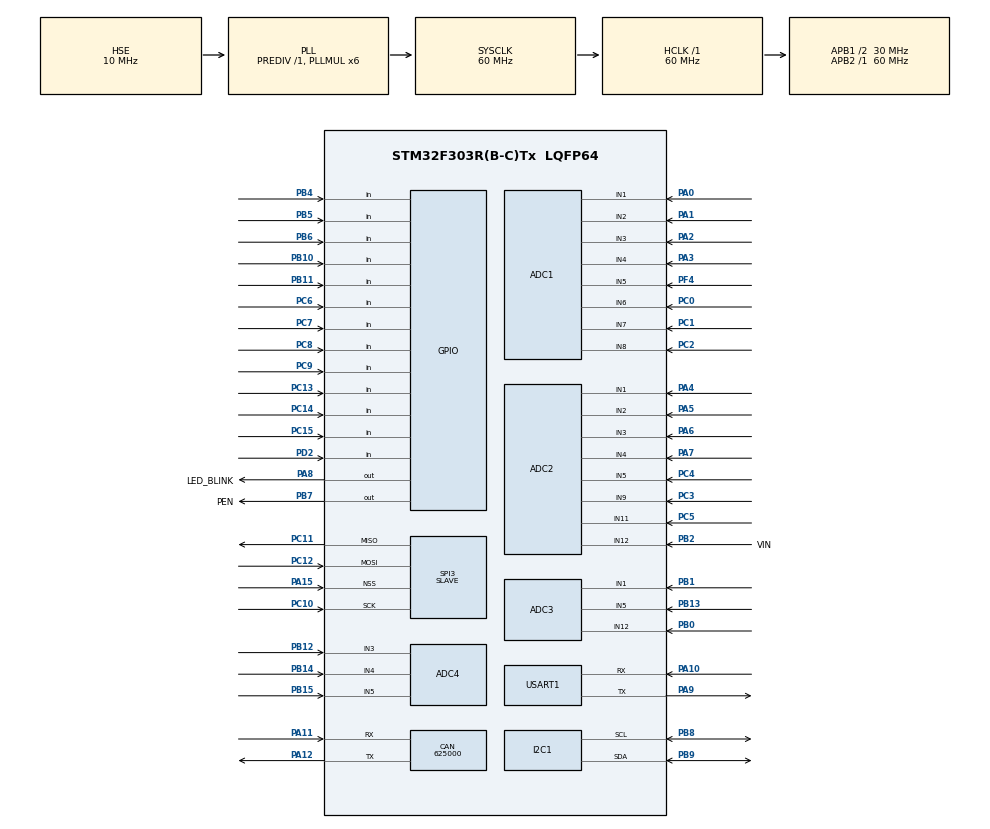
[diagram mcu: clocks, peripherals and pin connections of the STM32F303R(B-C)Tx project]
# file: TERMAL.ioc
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ADC1.Channel-0\#ChannelRegularConversion=ADC_CHANNEL_1
ADC1.ClockPrescaler=ADC_CLOCK_SYNC_PCLK_DIV2
ADC1.ContinuousConvMode=DISABLE
ADC1.NbrOfConversion=1
ADC1.NbrOfConversionFlag=1
ADC1.Offset-0\#ChannelRegularConversion=0
ADC1.OffsetNumber-0\#ChannelRegularConversion=ADC_OFFSET_NONE
ADC1.Rank-0\#ChannelRegularConversion=1
ADC1.SamplingTime-0\#ChannelRegularConversion=ADC_SAMPLETIME_1CYCLE_5
ADC1.master=1
ADC2.Channel-0\#ChannelRegularConversion=ADC_CHANNEL_1
ADC2.ClockPrescaler=ADC_CLOCK_SYNC_PCLK_DIV2
ADC2.ContinuousConvMode=DISABLE
ADC2.NbrOfConversion=1
ADC2.NbrOfConversionFlag=1
ADC2.Offset-0\#ChannelRegularConversion=0
ADC2.OffsetNumber-0\#ChannelRegularConversion=ADC_OFFSET_NONE
ADC2.Rank-0\#ChannelRegularConversion=1
ADC2.SamplingTime-0\#ChannelRegularConversion=ADC_SAMPLETIME_1CYCLE_5
ADC3.Channel-0\#ChannelRegularConversion=ADC_CHANNEL_1
ADC3.ClockPrescaler=ADC_CLOCK_SYNC_PCLK_DIV2
ADC3.ContinuousConvMode=DISABLE
ADC3.NbrOfConversion=1
ADC3.NbrOfConversionFlag=1
ADC3.Offset-0\#ChannelRegularConversion=0
ADC3.OffsetNumber-0\#ChannelRegularConversion=ADC_OFFSET_NONE
ADC3.Rank-0\#ChannelRegularConversion=1
ADC3.SamplingTime-0\#ChannelRegularConversion=ADC_SAMPLETIME_1CYCLE_5
ADC3.master=1
ADC4.Channel-2\#ChannelRegularConversion=ADC_CHANNEL_3
ADC4.ClockPrescaler=ADC_CLOCK_SYNC_PCLK_DIV2
ADC4.ContinuousConvMode=DISABLE
ADC4.NbrOfConversion=1
ADC4.NbrOfConversionFlag=1
ADC4.Offset-2\#ChannelRegularConversion=0
ADC4.OffsetNumber-2\#ChannelRegularConversion=ADC_OFFSET_NONE
ADC4.Rank-2\#ChannelRegularConversion=1
ADC4.SamplingTime-2\#ChannelRegularConversion=ADC_SAMPLETIME_1CYCLE_5
CAN.CalculateBaudRate=625000
CAN.CalculateTimeBit=1600
CAN.CalculateTimeQuantum=533.3333333333334
I2C1.Timing=0x00201D2B
Mcu.Family=STM32F3
Mcu.Name=STM32F303R(B-C)Tx
Mcu.Package=LQFP64
NVIC.CAN_RX1_IRQn=true\:0\:0\:false\:false\:true\:true\:true\:true
NVIC.PriorityGroup=NVIC_PRIORITYGROUP_4
NVIC.SPI3_IRQn=true\:0\:0\:false\:false\:true\:true\:true\:true
NVIC.TIM1_UP_TIM16_IRQn=true\:15\:0\:false\:false\:true\:false\:true\:true
NVIC.TimeBase=TIM1_UP_TIM16_IRQn
NVIC.TimeBaseIP=TIM1
PA0.Mode=IN1-Single-Ended
PA0.Signal=ADC1_IN1
PA1.Mode=IN2-Single-Ended
PA1.Signal=ADC1_IN2
PA10.Mode=Asynchronous
PA10.Signal=USART1_RX
PA11.Mode=CAN_Activate
PA11.Signal=CAN_RX
PA12.Mode=CAN_Activate
PA12.Signal=CAN_TX
PA13.Mode=Trace_Asynchronous_SW
PA13.Signal=SYS_JTMS-SWDIO
PA14.Mode=Trace_Asynchronous_SW
PA14.Signal=SYS_JTCK-SWCLK
PA15.Mode=NSS_Signal_Hard_Input
PA15.Signal=SPI3_NSS
PA2.Mode=IN3-Single-Ended
PA2.Signal=ADC1_IN3
PA3.Mode=IN4-Single-Ended
PA3.Signal=ADC1_IN4
PA4.Mode=IN1-Single-Ended
PA4.Signal=ADC2_IN1
PA5.Mode=IN2-Single-Ended
PA5.Signal=ADC2_IN2
PA6.Mode=IN3-Differential
PA6.Signal=ADC2_IN3
PA7.Mode=IN3-Differential
PA7.Signal=ADC2_IN4
PA8.GPIO_Label=LED_BLINK
PA8.Signal=GPIO_Output
PA9.Mode=Asynchronous
PA9.Signal=USART1_TX
PB0.Mode=IN12-Single-Ended
PB0.Signal=ADC3_IN12
PB1.Mode=IN1-Single-Ended
PB1.Signal=ADC3_IN1
PB10.Signal=GPIO_Input
PB11.Signal=GPIO_Input
PB12.Mode=IN3-Single-Ended
PB12.Signal=ADC4_IN3
PB13.Mode=IN5-Single-Ended
PB13.Signal=ADC3_IN5
PB14.Mode=IN4-Differential
PB14.Signal=ADC4_IN4
PB15.Mode=IN4-Differential
PB15.Signal=ADC4_IN5
PB2.GPIO_Label=VIN
PB2.Mode=IN12-Single-Ended
PB2.Signal=ADC2_IN12
PB3.Mode=Trace_Asynchronous_SW
PB3.Signal=SYS_JTDO-TRACESWO
PB4.Signal=GPIO_Input
PB5.Signal=GPIO_Input
PB6.Signal=GPIO_Input
PB7.GPIO_Label=PEN
PB7.Signal=GPIO_Output
PB8.Mode=I2C
PB8.Signal=I2C1_SCL
PB9.Mode=I2C
PB9.Signal=I2C1_SDA
PC0.Signal=ADCx_IN6
PC1.Signal=ADCx_IN7
PC10.Mode=Full_Duplex_Slave
PC10.Signal=SPI3_SCK
PC11.Mode=Full_Duplex_Slave
PC11.Signal=SPI3_MISO
PC12.Mode=Full_Duplex_Slave
PC12.Signal=SPI3_MOSI
PC13.Signal=GPIO_Input
PC14-OSC32_IN.Signal=GPIO_Input
PC15-OSC32_OUT.Signal=GPIO_Input
PC2.Signal=ADCx_IN8
PC3.Signal=ADCx_IN9
PC4.Mode=IN5-Single-Ended
PC4.Signal=ADC2_IN5
PC5.Mode=IN11-Single-Ended
PC5.Signal=ADC2_IN11
PC6.Signal=GPIO_Input
PC7.Signal=GPIO_Input
PC8.Signal=GPIO_Input
PC9.Signal=GPIO_Input
PD2.Signal=GPIO_Input
PF0-OSC_IN.Mode=HSE-External-Oscillator
PF0-OSC_IN.Signal=RCC_OSC_IN
PF1-OSC_OUT.Mode=HSE-External-Oscillator
PF1-OSC_OUT.Signal=RCC_OSC_OUT
PF4.Mode=IN5-Single-Ended
PF4.Signal=ADC1_IN5
ProjectManager.HeapSize=0x200
ProjectManager.StackSize=0x400
ProjectManager.TargetToolchain=MDK-ARM V5.32
RCC.AHBFreq_Value=60000000
RCC.APB1CLKDivider=RCC_HCLK_DIV2
RCC.APB1Freq_Value=30000000
RCC.APB1TimFreq_Value=60000000
RCC.APB2Freq_Value=60000000
RCC.APB2TimFreq_Value=60000000
RCC.CortexFreq_Value=60000000
RCC.HCLKFreq_Value=60000000
RCC.HSE_VALUE=10000000
RCC.HSI_VALUE=8000000
RCC.LSE_VALUE=32768
RCC.PLLMUL=RCC_PLL_MUL6
RCC.PLLSourceVirtual=RCC_PLLSOURCE_HSE
RCC.SYSCLKFreq_VALUE=60000000
RCC.SYSCLKSourceVirtual=RCC_SYSCLKSOURCE_PLLCLK
RCC.USBFreq_Value=60000000
SH.ADCx_IN6.0=ADC1_IN6,IN6-Single-Ended
SH.ADCx_IN7.0=ADC1_IN7,IN7-Single-Ended
SH.ADCx_IN8.0=ADC1_IN8,IN8-Single-Ended
SH.ADCx_IN9.0=ADC2_IN9,IN9-Single-Ended
SPI3.CRCCalculation=SPI_CRCCALCULATION_DISABLE
SPI3.DataSize=SPI_DATASIZE_8BIT
SPI3.Direction=SPI_DIRECTION_2LINES
SPI3.Mode=SPI_MODE_SLAVE
SPI3.VirtualNSS=VM_NSSHARD
SPI3.VirtualType=VM_SLAVE
USART1.VirtualMode-Asynchronous=VM_ASYNC
VP_SYS_VS_tim1.Mode=TIM1
VP_TIM2_VS_ClockSourceINT.Mode=Internal
board=custom

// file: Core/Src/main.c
/* USER CODE BEGIN Header */
/**
  ******************************************************************************
  * @file           : main.c
  * @brief          : Main program body
  ******************************************************************************
  * @attention
  *
  * Copyright (c) 2025 STMicroelectronics.
  * All rights reserved.
  *
  * This software is licensed under terms that can be found in the LICENSE file
  * in the root directory of this software component.
  * If no LICENSE file comes with this software, it is provided AS-IS.
  *
  ******************************************************************************
  */
/* USER CODE END Header */
#include "main.h"

/* USER CODE BEGIN Includes */
//#ifdef DEBUG
//  #define USE_HSI_FOR_DEBUG
//#endif

#include <string.h>
#include <stdio.h>
#include <stdlib.h>
/* USER CODE END Includes */

ADC_HandleTypeDef hadc1;
ADC_HandleTypeDef hadc2;
ADC_HandleTypeDef hadc3;
ADC_HandleTypeDef hadc4;

CAN_HandleTypeDef hcan;

I2C_HandleTypeDef hi2c1;

SPI_HandleTypeDef hspi3;

TIM_HandleTypeDef htim2;

UART_HandleTypeDef huart1;

/* USER CODE BEGIN PV */
// SPI communication buffers
uint8_t rxBuffer[RX_BUFFER_SIZE] = {0};
uint8_t txBuffer[TX_BUFFER_SIZE] = {0};

uint8_t txData;        // single byte used for ISR transfers
uint8_t rxData;
volatile uint16_t spiTxIndex = 0;
volatile uint16_t spiRxIndex = 0;

volatile uint8_t spiTransferComplete = 1;
volatile uint8_t commandReady = 0;
char commandBuffer[CMD_BUFFER_SIZE] = {0};

// ADC values storage
uint16_t analogValues[TOTAL_ANALOG_INPUTS+5] = {0};
uint16_t vinValue = 0;

// Digital input values storage
uint8_t digitalValues[TOTAL_DIGITAL_INPUTS] = {0};

// Continuous mode variables
uint8_t continuousMode = 0;
uint8_t continuousChannel = 0;
uint32_t lastContinuousTime = 0;
#define CONTINUOUS_INTERVAL_MS 1000  // 1 second interval

// RUN mode variables
uint8_t runMode = 0;
uint32_t lastRunTime = 0;
#define RUN_INTERVAL_MS 100  // Read every 100ms for fast monitoring

// Error tracking
uint8_t errorDetected = 0;
uint8_t errorChannel = 0;
uint16_t errorValue = 0;

// PIN definitions for digital inputs
GPIO_TypeDef* digitalPorts[TOTAL_DIGITAL_INPUTS] = {
    GPIOC, GPIOC, GPIOC, GPIOC, GPIOC, GPIOC, GPIOC,  // PC13-PC9
    GPIOB, GPIOB, GPIOB, GPIOB, GPIOB,                // PB10-PB6
    GPIOD                                             // PD2
};

uint16_t digitalPins[TOTAL_DIGITAL_INPUTS] = {
    GPIO_PIN_13, GPIO_PIN_14, GPIO_PIN_15, GPIO_PIN_6, GPIO_PIN_7, GPIO_PIN_8, GPIO_PIN_9,  // PC13-PC9
    GPIO_PIN_10, GPIO_PIN_11, GPIO_PIN_4, GPIO_PIN_5, GPIO_PIN_6,                            // PB10-PB6
    GPIO_PIN_2                                                                               // PD2
};

// ADC channel mapping
typedef struct {
    ADC_HandleTypeDef* hadc;
    uint32_t channel;
} ADC_ChannelMap;

ADC_ChannelMap adcChannelMap[TOTAL_ANALOG_INPUTS] = {
    // ADC1 channels (8)
    {&hadc1, ADC_CHANNEL_1}, {&hadc1, ADC_CHANNEL_2}, {&hadc1, ADC_CHANNEL_3}, {&hadc1, ADC_CHANNEL_4},
    {&hadc1, ADC_CHANNEL_5}, {&hadc1, ADC_CHANNEL_6}, {&hadc1, ADC_CHANNEL_7}, {&hadc1, ADC_CHANNEL_8},

    // ADC2 channels (7)
    {&hadc2, ADC_CHANNEL_1}, {&hadc2, ADC_CHANNEL_2}, {&hadc2, ADC_CHANNEL_3}, {&hadc2, ADC_CHANNEL_5},
    {&hadc2, ADC_CHANNEL_9}, {&hadc2, ADC_CHANNEL_11}, {&hadc2, ADC_CHANNEL_12},

    // ADC3 channels (3)
    {&hadc3, ADC_CHANNEL_1}, {&hadc3, ADC_CHANNEL_5}, {&hadc3, ADC_CHANNEL_12},

    // ADC4 channels (2)
    {&hadc4, ADC_CHANNEL_3}, {&hadc4, ADC_CHANNEL_4}

    // Additional channels to reach 22 (assuming they're configured similarly)
    //{&hadc1, ADC_CHANNEL_9}, {&hadc1, ADC_CHANNEL_10},
		//{&hadc1, ADC_CHANNEL_11}, {&hadc1, ADC_CHANNEL_12}
};

/* USER CODE END PV */

void SystemClock_Config(void);
static void MX_GPIO_Init(void);
static void MX_ADC1_Init(void);
static void MX_ADC2_Init(void);
static void MX_ADC3_Init(void);
static void MX_ADC4_Init(void);
static void MX_I2C1_Init(void);
static void MX_USART1_UART_Init(void);
static void MX_SPI3_Init(void);
static void MX_CAN_Init(void);
static void MX_TIM2_Init(void);
/* USER CODE BEGIN PFP */

// Custom function prototypes
void ReadAllAnalogInputs(void);
void ReadAllDigitalInputs(void);
void ProcessCommand(char* cmd);
void SendResponse(const char* response);
uint16_t ReadADCChannel(ADC_HandleTypeDef* hadc, uint32_t channel);
void CheckVinAndControlPen(void);
void HandleContinuousMode(void);
void PrepareContinuousResponse(void);
void HandleRunMode(void);
void CheckAnalogErrors(void);
void SendErrorViaUART(uint8_t channel, uint16_t value);
void SendErrorViaSPI(uint8_t channel, uint16_t value);
void Debug_ADCs(void);
/* USER CODE END PFP */

int main(void)
{

  /* USER CODE BEGIN 1 */
  //#ifdef DEBUG
    // Ensure vector table is relocated for debug
    //SCB->VTOR = FLASH_BASE | 0x0000;
  //#endif
  /* USER CODE END 1 */

  /* MCU Configuration--------------------------------------------------------*/

  /* Reset of all peripherals, Initializes the Flash interface and the Systick. */
  HAL_Init();

  /* USER CODE BEGIN Init */
	//#ifdef DEBUG
    // Increase the SysTick priority for better debug responsiveness
    //HAL_NVIC_SetPriority(SysTick_IRQn, 0, 0);
  //#endif
  /* USER CODE END Init */

  /* Configure the system clock */
  SystemClock_Config();

  /* Initialize all configured peripherals */
  MX_GPIO_Init();
  MX_ADC1_Init();
  MX_ADC2_Init();
  MX_ADC3_Init();
  MX_ADC4_Init();
  MX_I2C1_Init();
  MX_USART1_UART_Init();
  MX_SPI3_Init();
  MX_CAN_Init();
  MX_TIM2_Init();
  /* USER CODE BEGIN 2 */

	// Start ADC conversions
	///HAL_ADC_Start(&hadc1);
	///HAL_ADC_Start(&hadc2);
	///HAL_ADC_Start(&hadc3);
	///HAL_ADC_Start(&hadc4);

	// Start SPI in interrupt mode
	txData = 0xFF;
	HAL_SPI_TransmitReceive_IT(&hspi3, &txData, &rxData, 1);

	// Initial reading of inputs
	ReadAllAnalogInputs();
	ReadAllDigitalInputs();
	CheckVinAndControlPen();

  /* USER CODE END 2 */

  /* Infinite loop */
  /* USER CODE BEGIN WHILE */
  while (1)
  {

		  // Check if a command is ready to be processed
  if (commandReady) {
    ProcessCommand(commandBuffer);
    commandReady = 0;
    memset(commandBuffer, 0, CMD_BUFFER_SIZE);
  }

  // Handle continuous mode if active
  if (continuousMode) {
    HandleContinuousMode();
  }

	// Handle RUN mode if active
  if (runMode) {
    HandleRunMode();
  }

  // Periodically read all inputs
  static uint32_t lastReadTime = 0;
  if (HAL_GetTick() - lastReadTime > 100) {  // Read every 100ms
    ReadAllAnalogInputs();
    ReadAllDigitalInputs();
    CheckVinAndControlPen();
    lastReadTime = HAL_GetTick();
  }

    /* USER CODE END WHILE */

    /* USER CODE BEGIN 3 */
  // Small delay to prevent CPU hogging
  HAL_Delay(10);

	}
  /* USER CODE END 3 */
}

void SystemClock_Config(void)
{
  RCC_OscInitTypeDef RCC_OscInitStruct = {0};
  RCC_ClkInitTypeDef RCC_ClkInitStruct = {0};
  RCC_PeriphCLKInitTypeDef PeriphClkInit = {0};

  /** Initializes the RCC Oscillators according to the specified parameters
  * in the RCC_OscInitTypeDef structure.
  */
  RCC_OscInitStruct.OscillatorType = RCC_OSCILLATORTYPE_HSI|RCC_OSCILLATORTYPE_HSE;
  RCC_OscInitStruct.HSEState = RCC_HSE_ON;
  RCC_OscInitStruct.HSEPredivValue = RCC_HSE_PREDIV_DIV1;
  RCC_OscInitStruct.HSIState = RCC_HSI_ON;
  RCC_OscInitStruct.HSICalibrationValue = RCC_HSICALIBRATION_DEFAULT;
  RCC_OscInitStruct.PLL.PLLState = RCC_PLL_ON;
  RCC_OscInitStruct.PLL.PLLSource = RCC_PLLSOURCE_HSE;
  RCC_OscInitStruct.PLL.PLLMUL = RCC_PLL_MUL6;
  if (HAL_RCC_OscConfig(&RCC_OscInitStruct) != HAL_OK)
  {
    Error_Handler();
  }

  /** Initializes the CPU, AHB and APB buses clocks
  */
  RCC_ClkInitStruct.ClockType = RCC_CLOCKTYPE_HCLK|RCC_CLOCKTYPE_SYSCLK
                              |RCC_CLOCKTYPE_PCLK1|RCC_CLOCKTYPE_PCLK2;
  RCC_ClkInitStruct.SYSCLKSource = RCC_SYSCLKSOURCE_PLLCLK;
  RCC_ClkInitStruct.AHBCLKDivider = RCC_SYSCLK_DIV1;
  RCC_ClkInitStruct.APB1CLKDivider = RCC_HCLK_DIV2;
  RCC_ClkInitStruct.APB2CLKDivider = RCC_HCLK_DIV1;

  if (HAL_RCC_ClockConfig(&RCC_ClkInitStruct, FLASH_LATENCY_2) != HAL_OK)
  {
    Error_Handler();
  }
  PeriphClkInit.PeriphClockSelection = RCC_PERIPHCLK_USART1|RCC_PERIPHCLK_I2C1;
  PeriphClkInit.Usart1ClockSelection = RCC_USART1CLKSOURCE_PCLK2;
  PeriphClkInit.I2c1ClockSelection = RCC_I2C1CLKSOURCE_HSI;
  if (HAL_RCCEx_PeriphCLKConfig(&PeriphClkInit) != HAL_OK)
  {
    Error_Handler();
  }
}

static void MX_ADC1_Init(void)
{

  ADC_MultiModeTypeDef multimode = {0};
  ADC_ChannelConfTypeDef sConfig = {0};

  /** Common config
  */
  hadc1.Instance = ADC1;
  hadc1.Init.ClockPrescaler = ADC_CLOCK_SYNC_PCLK_DIV2;
  hadc1.Init.Resolution = ADC_RESOLUTION_12B;
  hadc1.Init.ScanConvMode = ADC_SCAN_ENABLE;
  hadc1.Init.ContinuousConvMode = DISABLE;
  hadc1.Init.DiscontinuousConvMode = DISABLE;
  hadc1.Init.ExternalTrigConvEdge = ADC_EXTERNALTRIGCONVEDGE_NONE;
  hadc1.Init.ExternalTrigConv = ADC_SOFTWARE_START;
  hadc1.Init.DataAlign = ADC_DATAALIGN_RIGHT;
  hadc1.Init.NbrOfConversion = 8;
  hadc1.Init.DMAContinuousRequests = DISABLE;
  hadc1.Init.EOCSelection = ADC_EOC_SINGLE_CONV;
  hadc1.Init.LowPowerAutoWait = DISABLE;
  hadc1.Init.Overrun = ADC_OVR_DATA_OVERWRITTEN;
  if (HAL_ADC_Init(&hadc1) != HAL_OK)
  {
    Error_Handler();
  }

  /** Configure the ADC multi-mode
  */
  multimode.Mode = ADC_MODE_INDEPENDENT;
  if (HAL_ADCEx_MultiModeConfigChannel(&hadc1, &multimode) != HAL_OK)
  {
    Error_Handler();
  }

  /** Configure Regular Channel
  */
  sConfig.Channel = ADC_CHANNEL_1;
  sConfig.Rank = ADC_REGULAR_RANK_1;
  sConfig.SingleDiff = ADC_SINGLE_ENDED;
  sConfig.SamplingTime = ADC_SAMPLETIME_1CYCLE_5;
  sConfig.OffsetNumber = ADC_OFFSET_NONE;
  sConfig.Offset = 0;
  if (HAL_ADC_ConfigChannel(&hadc1, &sConfig) != HAL_OK)
  {
    Error_Handler();
  }

  /** Configure Regular Channel
  */
  sConfig.Channel = ADC_CHANNEL_2;
  sConfig.Rank = ADC_REGULAR_RANK_2;
  if (HAL_ADC_ConfigChannel(&hadc1, &sConfig) != HAL_OK)
  {
    Error_Handler();
  }

  /** Configure Regular Channel
  */
  sConfig.Channel = ADC_CHANNEL_3;
  sConfig.Rank = ADC_REGULAR_RANK_3;
  if (HAL_ADC_ConfigChannel(&hadc1, &sConfig) != HAL_OK)
  {
    Error_Handler();
  }

  /** Configure Regular Channel
  */
  sConfig.Channel = ADC_CHANNEL_4;
  sConfig.Rank = ADC_REGULAR_RANK_4;
  if (HAL_ADC_ConfigChannel(&hadc1, &sConfig) != HAL_OK)
  {
    Error_Handler();
  }

  /** Configure Regular Channel
  */
  sConfig.Channel = ADC_CHANNEL_5;
  sConfig.Rank = ADC_REGULAR_RANK_5;
  if (HAL_ADC_ConfigChannel(&hadc1, &sConfig) != HAL_OK)
  {
    Error_Handler();
  }

  /** Configure Regular Channel
  */
  sConfig.Channel = ADC_CHANNEL_6;
  sConfig.Rank = ADC_REGULAR_RANK_6;
  if (HAL_ADC_ConfigChannel(&hadc1, &sConfig) != HAL_OK)
  {
    Error_Handler();
  }

  /** Configure Regular Channel
  */
  sConfig.Channel = ADC_CHANNEL_7;
  sConfig.Rank = ADC_REGULAR_RANK_7;
  if (HAL_ADC_ConfigChannel(&hadc1, &sConfig) != HAL_OK)
  {
    Error_Handler();
  }

  /** Configure Regular Channel
  */
  sConfig.Channel = ADC_CHANNEL_8;
  sConfig.Rank = ADC_REGULAR_RANK_8;
  if (HAL_ADC_ConfigChannel(&hadc1, &sConfig) != HAL_OK)
  {
    Error_Handler();
  }

}

static void MX_ADC2_Init(void)
{

  ADC_ChannelConfTypeDef sConfig = {0};

  /** Common config
  */
  hadc2.Instance = ADC2;
  hadc2.Init.ClockPrescaler = ADC_CLOCK_SYNC_PCLK_DIV2;
  hadc2.Init.Resolution = ADC_RESOLUTION_12B;
  hadc2.Init.ScanConvMode = ADC_SCAN_ENABLE;
  hadc2.Init.ContinuousConvMode = DISABLE;
  hadc2.Init.DiscontinuousConvMode = DISABLE;
  hadc2.Init.ExternalTrigConvEdge = ADC_EXTERNALTRIGCONVEDGE_NONE;
  hadc2.Init.ExternalTrigConv = ADC_SOFTWARE_START;
  hadc2.Init.DataAlign = ADC_DATAALIGN_RIGHT;
  hadc2.Init.NbrOfConversion = 7;
  hadc2.Init.DMAContinuousRequests = DISABLE;
  hadc2.Init.EOCSelection = ADC_EOC_SINGLE_CONV;
  hadc2.Init.LowPowerAutoWait = DISABLE;
  hadc2.Init.Overrun = ADC_OVR_DATA_OVERWRITTEN;
  if (HAL_ADC_Init(&hadc2) != HAL_OK)
  {
    Error_Handler();
  }

  /** Configure Regular Channel
  */
  sConfig.Channel = ADC_CHANNEL_1;
  sConfig.Rank = ADC_REGULAR_RANK_1;
  sConfig.SingleDiff = ADC_SINGLE_ENDED;
  sConfig.SamplingTime = ADC_SAMPLETIME_1CYCLE_5;
  sConfig.OffsetNumber = ADC_OFFSET_NONE;
  sConfig.Offset = 0;
  if (HAL_ADC_ConfigChannel(&hadc2, &sConfig) != HAL_OK)
  {
    Error_Handler();
  }

  /** Configure Regular Channel
  */
  sConfig.Channel = ADC_CHANNEL_2;
  sConfig.Rank = ADC_REGULAR_RANK_2;
  if (HAL_ADC_ConfigChannel(&hadc2, &sConfig) != HAL_OK)
  {
    Error_Handler();
  }

  /** Configure Regular Channel
  */
  sConfig.Channel = ADC_CHANNEL_3;
  sConfig.Rank = ADC_REGULAR_RANK_3;
  sConfig.SingleDiff = ADC_DIFFERENTIAL_ENDED;
  if (HAL_ADC_ConfigChannel(&hadc2, &sConfig) != HAL_OK)
  {
    Error_Handler();
  }

  /** Configure Regular Channel
  */
  sConfig.Channel = ADC_CHANNEL_5;
  sConfig.Rank = ADC_REGULAR_RANK_4;
  sConfig.SingleDiff = ADC_SINGLE_ENDED;
  if (HAL_ADC_ConfigChannel(&hadc2, &sConfig) != HAL_OK)
  {
    Error_Handler();
  }

  /** Configure Regular Channel
  */
  sConfig.Channel = ADC_CHANNEL_9;
  sConfig.Rank = ADC_REGULAR_RANK_5;
  if (HAL_ADC_ConfigChannel(&hadc2, &sConfig) != HAL_OK)
  {
    Error_Handler();
  }

  /** Configure Regular Channel
  */
  sConfig.Channel = ADC_CHANNEL_11;
  sConfig.Rank = ADC_REGULAR_RANK_6;
  if (HAL_ADC_ConfigChannel(&hadc2, &sConfig) != HAL_OK)
  {
    Error_Handler();
  }

  /** Configure Regular Channel
  */
  sConfig.Channel = ADC_CHANNEL_12;
  sConfig.Rank = ADC_REGULAR_RANK_7;
  if (HAL_ADC_ConfigChannel(&hadc2, &sConfig) != HAL_OK)
  {
    Error_Handler();
  }

}

static void MX_ADC3_Init(void)
{

  ADC_MultiModeTypeDef multimode = {0};
  ADC_ChannelConfTypeDef sConfig = {0};

  /** Common config
  */
  hadc3.Instance = ADC3;
  hadc3.Init.ClockPrescaler = ADC_CLOCK_SYNC_PCLK_DIV2;
  hadc3.Init.Resolution = ADC_RESOLUTION_12B;
  hadc3.Init.ScanConvMode = ADC_SCAN_ENABLE;
  hadc3.Init.ContinuousConvMode = DISABLE;
  hadc3.Init.DiscontinuousConvMode = DISABLE;
  hadc3.Init.ExternalTrigConvEdge = ADC_EXTERNALTRIGCONVEDGE_NONE;
  hadc3.Init.ExternalTrigConv = ADC_SOFTWARE_START;
  hadc3.Init.DataAlign = ADC_DATAALIGN_RIGHT;
  hadc3.Init.NbrOfConversion = 3;
  hadc3.Init.DMAContinuousRequests = DISABLE;
  hadc3.Init.EOCSelection = ADC_EOC_SINGLE_CONV;
  hadc3.Init.LowPowerAutoWait = DISABLE;
  hadc3.Init.Overrun = ADC_OVR_DATA_OVERWRITTEN;
  if (HAL_ADC_Init(&hadc3) != HAL_OK)
  {
    Error_Handler();
  }

  /** Configure the ADC multi-mode
  */
  multimode.Mode = ADC_MODE_INDEPENDENT;
  if (HAL_ADCEx_MultiModeConfigChannel(&hadc3, &multimode) != HAL_OK)
  {
    Error_Handler();
  }

  /** Configure Regular Channel
  */
  sConfig.Channel = ADC_CHANNEL_1;
  sConfig.Rank = ADC_REGULAR_RANK_1;
  sConfig.SingleDiff = ADC_SINGLE_ENDED;
  sConfig.SamplingTime = ADC_SAMPLETIME_1CYCLE_5;
  sConfig.OffsetNumber = ADC_OFFSET_NONE;
  sConfig.Offset = 0;
  if (HAL_ADC_ConfigChannel(&hadc3, &sConfig) != HAL_OK)
  {
    Error_Handler();
  }

  /** Configure Regular Channel
  */
  sConfig.Channel = ADC_CHANNEL_5;
  sConfig.Rank = ADC_REGULAR_RANK_2;
  if (HAL_ADC_ConfigChannel(&hadc3, &sConfig) != HAL_OK)
  {
    Error_Handler();
  }

  /** Configure Regular Channel
  */
  sConfig.Channel = ADC_CHANNEL_12;
  sConfig.Rank = ADC_REGULAR_RANK_3;
  if (HAL_ADC_ConfigChannel(&hadc3, &sConfig) != HAL_OK)
  {
    Error_Handler();
  }

}

static void MX_ADC4_Init(void)
{

  ADC_ChannelConfTypeDef sConfig = {0};

  /** Common config
  */
  hadc4.Instance = ADC4;
  hadc4.Init.ClockPrescaler = ADC_CLOCK_SYNC_PCLK_DIV2;
  hadc4.Init.Resolution = ADC_RESOLUTION_12B;
  hadc4.Init.ScanConvMode = ADC_SCAN_ENABLE;
  hadc4.Init.ContinuousConvMode = DISABLE;
  hadc4.Init.DiscontinuousConvMode = DISABLE;
  hadc4.Init.ExternalTrigConvEdge = ADC_EXTERNALTRIGCONVEDGE_NONE;
  hadc4.Init.ExternalTrigConv = ADC_SOFTWARE_START;
  hadc4.Init.DataAlign = ADC_DATAALIGN_RIGHT;
  hadc4.Init.NbrOfConversion = 2;
  hadc4.Init.DMAContinuousRequests = DISABLE;
  hadc4.Init.EOCSelection = ADC_EOC_SINGLE_CONV;
  hadc4.Init.LowPowerAutoWait = DISABLE;
  hadc4.Init.Overrun = ADC_OVR_DATA_OVERWRITTEN;
  if (HAL_ADC_Init(&hadc4) != HAL_OK)
  {
    Error_Handler();
  }

  /** Configure Regular Channel
  */
  sConfig.Channel = ADC_CHANNEL_3;
  sConfig.Rank = ADC_REGULAR_RANK_1;
  sConfig.SingleDiff = ADC_SINGLE_ENDED;
  sConfig.SamplingTime = ADC_SAMPLETIME_1CYCLE_5;
  sConfig.OffsetNumber = ADC_OFFSET_NONE;
  sConfig.Offset = 0;
  if (HAL_ADC_ConfigChannel(&hadc4, &sConfig) != HAL_OK)
  {
    Error_Handler();
  }

  /** Configure Regular Channel
  */
  sConfig.Channel = ADC_CHANNEL_4;
  sConfig.Rank = ADC_REGULAR_RANK_2;
  sConfig.SingleDiff = ADC_DIFFERENTIAL_ENDED;
  if (HAL_ADC_ConfigChannel(&hadc4, &sConfig) != HAL_OK)
  {
    Error_Handler();
  }

}

static void MX_CAN_Init(void)
{

  hcan.Instance = CAN;
  hcan.Init.Prescaler = 16;
  hcan.Init.Mode = CAN_MODE_NORMAL;
  hcan.Init.SyncJumpWidth = CAN_SJW_1TQ;
  hcan.Init.TimeSeg1 = CAN_BS1_1TQ;
  hcan.Init.TimeSeg2 = CAN_BS2_1TQ;
  hcan.Init.TimeTriggeredMode = DISABLE;
  hcan.Init.AutoBusOff = DISABLE;
  hcan.Init.AutoWakeUp = DISABLE;
  hcan.Init.AutoRetransmission = DISABLE;
  hcan.Init.ReceiveFifoLocked = DISABLE;
  hcan.Init.TransmitFifoPriority = DISABLE;
  if (HAL_CAN_Init(&hcan) != HAL_OK)
  {
    Error_Handler();
  }

}

static void MX_I2C1_Init(void)
{

  hi2c1.Instance = I2C1;
  hi2c1.Init.Timing = 0x00201D2B;
  hi2c1.Init.OwnAddress1 = 0;
  hi2c1.Init.AddressingMode = I2C_ADDRESSINGMODE_7BIT;
  hi2c1.Init.DualAddressMode = I2C_DUALADDRESS_DISABLE;
  hi2c1.Init.OwnAddress2 = 0;
  hi2c1.Init.OwnAddress2Masks = I2C_OA2_NOMASK;
  hi2c1.Init.GeneralCallMode = I2C_GENERALCALL_DISABLE;
  hi2c1.Init.NoStretchMode = I2C_NOSTRETCH_DISABLE;
  if (HAL_I2C_Init(&hi2c1) != HAL_OK)
  {
    Error_Handler();
  }

  /** Configure Analogue filter
  */
  if (HAL_I2CEx_ConfigAnalogFilter(&hi2c1, I2C_ANALOGFILTER_ENABLE) != HAL_OK)
  {
    Error_Handler();
  }

  /** Configure Digital filter
  */
  if (HAL_I2CEx_ConfigDigitalFilter(&hi2c1, 0) != HAL_OK)
  {
    Error_Handler();
  }

}

static void MX_SPI3_Init(void)
{

  /* SPI3 parameter configuration*/
  hspi3.Instance = SPI3;
  hspi3.Init.Mode = SPI_MODE_SLAVE;
  hspi3.Init.Direction = SPI_DIRECTION_2LINES;
  hspi3.Init.DataSize = SPI_DATASIZE_8BIT;
  hspi3.Init.CLKPolarity = SPI_POLARITY_LOW;
  hspi3.Init.CLKPhase = SPI_PHASE_1EDGE;
  hspi3.Init.NSS = SPI_NSS_HARD_INPUT;
  hspi3.Init.FirstBit = SPI_FIRSTBIT_MSB;
  hspi3.Init.TIMode = SPI_TIMODE_DISABLE;
  hspi3.Init.CRCCalculation = SPI_CRCCALCULATION_DISABLE;
  hspi3.Init.CRCPolynomial = 7;
  hspi3.Init.CRCLength = SPI_CRC_LENGTH_DATASIZE;
  hspi3.Init.NSSPMode = SPI_NSS_PULSE_DISABLE;
  if (HAL_SPI_Init(&hspi3) != HAL_OK)
  {
    Error_Handler();
  }

}

static void MX_TIM2_Init(void)
{

  TIM_ClockConfigTypeDef sClockSourceConfig = {0};
  TIM_MasterConfigTypeDef sMasterConfig = {0};

  htim2.Instance = TIM2;
  htim2.Init.Prescaler = 0;
  htim2.Init.CounterMode = TIM_COUNTERMODE_UP;
  htim2.Init.Period = 4294967295;
  htim2.Init.ClockDivision = TIM_CLOCKDIVISION_DIV1;
  htim2.Init.AutoReloadPreload = TIM_AUTORELOAD_PRELOAD_DISABLE;
  if (HAL_TIM_Base_Init(&htim2) != HAL_OK)
  {
    Error_Handler();
  }
  sClockSourceConfig.ClockSource = TIM_CLOCKSOURCE_INTERNAL;
  if (HAL_TIM_ConfigClockSource(&htim2, &sClockSourceConfig) != HAL_OK)
  {
    Error_Handler();
  }
  sMasterConfig.MasterOutputTrigger = TIM_TRGO_RESET;
  sMasterConfig.MasterSlaveMode = TIM_MASTERSLAVEMODE_DISABLE;
  if (HAL_TIMEx_MasterConfigSynchronization(&htim2, &sMasterConfig) != HAL_OK)
  {
    Error_Handler();
  }

}

static void MX_USART1_UART_Init(void)
{

  huart1.Instance = USART1;
  huart1.Init.BaudRate = 38400;
  huart1.Init.WordLength = UART_WORDLENGTH_8B;
  huart1.Init.StopBits = UART_STOPBITS_1;
  huart1.Init.Parity = UART_PARITY_NONE;
  huart1.Init.Mode = UART_MODE_TX_RX;
  huart1.Init.HwFlowCtl = UART_HWCONTROL_NONE;
  huart1.Init.OverSampling = UART_OVERSAMPLING_16;
  huart1.Init.OneBitSampling = UART_ONE_BIT_SAMPLE_DISABLE;
  huart1.AdvancedInit.AdvFeatureInit = UART_ADVFEATURE_NO_INIT;
  if (HAL_UART_Init(&huart1) != HAL_OK)
  {
    Error_Handler();
  }

}

static void MX_GPIO_Init(void)
{
  GPIO_InitTypeDef GPIO_InitStruct = {0};

  /* GPIO Ports Clock Enable */
  __HAL_RCC_GPIOC_CLK_ENABLE();
  __HAL_RCC_GPIOF_CLK_ENABLE();
  __HAL_RCC_GPIOA_CLK_ENABLE();
  __HAL_RCC_GPIOB_CLK_ENABLE();
  __HAL_RCC_GPIOD_CLK_ENABLE();

  /*Configure GPIO pin Output Level */
  HAL_GPIO_WritePin(LED_BLINK_GPIO_Port, LED_BLINK_Pin, GPIO_PIN_RESET);

  /*Configure GPIO pin Output Level */
  HAL_GPIO_WritePin(PEN_GPIO_Port, PEN_Pin, GPIO_PIN_RESET);

  /*Configure GPIO pins : PC13 PC14 PC15 PC6
                           PC7 PC8 PC9 */
  GPIO_InitStruct.Pin = GPIO_PIN_13|GPIO_PIN_14|GPIO_PIN_15|GPIO_PIN_6
                          |GPIO_PIN_7|GPIO_PIN_8|GPIO_PIN_9;
  GPIO_InitStruct.Mode = GPIO_MODE_INPUT;
  GPIO_InitStruct.Pull = GPIO_NOPULL;
  HAL_GPIO_Init(GPIOC, &GPIO_InitStruct);

  /*Configure GPIO pins : PB10 PB11 PB4 PB5
                           PB6 */
  GPIO_InitStruct.Pin = GPIO_PIN_10|GPIO_PIN_11|GPIO_PIN_4|GPIO_PIN_5
                          |GPIO_PIN_6;
  GPIO_InitStruct.Mode = GPIO_MODE_INPUT;
  GPIO_InitStruct.Pull = GPIO_NOPULL;
  HAL_GPIO_Init(GPIOB, &GPIO_InitStruct);

  /*Configure GPIO pin : LED_BLINK_Pin */
  GPIO_InitStruct.Pin = LED_BLINK_Pin;
  GPIO_InitStruct.Mode = GPIO_MODE_OUTPUT_PP;
  GPIO_InitStruct.Pull = GPIO_NOPULL;
  GPIO_InitStruct.Speed = GPIO_SPEED_FREQ_LOW;
  HAL_GPIO_Init(LED_BLINK_GPIO_Port, &GPIO_InitStruct);

  /*Configure GPIO pin : PD2 */
  GPIO_InitStruct.Pin = GPIO_PIN_2;
  GPIO_InitStruct.Mode = GPIO_MODE_INPUT;
  GPIO_InitStruct.Pull = GPIO_NOPULL;
  HAL_GPIO_Init(GPIOD, &GPIO_InitStruct);

  /*Configure GPIO pin : PEN_Pin */
  GPIO_InitStruct.Pin = PEN_Pin;
  GPIO_InitStruct.Mode = GPIO_MODE_OUTPUT_PP;
  GPIO_InitStruct.Pull = GPIO_NOPULL;
  GPIO_InitStruct.Speed = GPIO_SPEED_FREQ_LOW;
  HAL_GPIO_Init(PEN_GPIO_Port, &GPIO_InitStruct);

}

/* USER CODE BEGIN 4 */

/**
  * @brief  Read all analog inputs and store their values
  * @param  None
  * @retval None
  */
void ReadAllAnalogInputs(void) {
  for (int i = 0; i < TOTAL_ANALOG_INPUTS; i++) {
    analogValues[i] = ReadADCChannel(adcChannelMap[i].hadc, adcChannelMap[i].channel);
  }

  // Store VIN value separately (ADC2_IN12 is at index 13 in our mapping)
  vinValue = analogValues[13];
}

/**
  * @brief  Read a specific ADC channel
  * @param  hadc: ADC handle
  * @param  channel: ADC channel to read
  * @retval ADC conversion result
  */

uint16_t ReadADCChannel(ADC_HandleTypeDef* hadc, uint32_t channel) {
  ADC_ChannelConfTypeDef sConfig = {0};
  uint16_t value;
  // Configure the channel
  sConfig.Channel = channel;
  sConfig.Rank = ADC_REGULAR_RANK_1;
  sConfig.SingleDiff = ADC_SINGLE_ENDED;
  sConfig.SamplingTime = ADC_SAMPLETIME_1CYCLE_5;
  sConfig.OffsetNumber = ADC_OFFSET_NONE;
  sConfig.Offset = 0;

  if (HAL_ADC_ConfigChannel(hadc, &sConfig) != HAL_OK) {
    Error_Handler();
  }

  // Start conversion
  if (HAL_ADC_Start(hadc) != HAL_OK) {
    //Error_Handler();
		return 0;
  }

  // Wait for conversion complete
  if (HAL_ADC_PollForConversion(hadc, 10) == HAL_OK) {
        value = HAL_ADC_GetValue(hadc);
    }

  // Stop conversion
  HAL_ADC_Stop(hadc);

  return value;
}

/**
  * @brief  Read all digital inputs and store their values
  * @param  None
  * @retval None
  */
void ReadAllDigitalInputs(void) {
  for (int i = 0; i < TOTAL_DIGITAL_INPUTS; i++) {
    digitalValues[i] = HAL_GPIO_ReadPin(digitalPorts[i], digitalPins[i]);
  }
	  HAL_GPIO_TogglePin(LED_BLINK_GPIO_Port, LED_BLINK_Pin);

}

/**
  * @brief  Check VIN value and control PEN pin accordingly
  * @param  None
  * @retval None
  */
void CheckVinAndControlPen(void) {
  if (vinValue < ADC_THRESHOLD_HIGH) {
    // VIN is below 80% of max, turn on PEN to enable master power
    HAL_GPIO_WritePin(PEN_GPIO_Port, PEN_Pin, GPIO_PIN_SET);
  } else {
    // VIN is above 80% of max, turn off PEN
    HAL_GPIO_WritePin(PEN_GPIO_Port, PEN_Pin, GPIO_PIN_RESET);
  }
}

/**
  * @brief  Process received command
  * @param  cmd: Command string to process
  * @retval None
  */
void ProcessCommand(char* cmd) {
  // Convert to uppercase for case-insensitive comparison
  for (int i = 0; cmd[i]; i++) {
    if (cmd[i] >= 'a' && cmd[i] <= 'z') {
      cmd[i] -= ('a' - 'A');
    }
  }

  if (strncmp(cmd, CMD_GET_ALL_ANALOG, strlen(CMD_GET_ALL_ANALOG)) == 0) {
    // Prepare response with all analog values
    char response[TX_BUFFER_SIZE] = "AVALUES:";
    char temp[16];

    for (int i = 0; i < TOTAL_ANALOG_INPUTS; i++) {
      sprintf(temp, "%d", analogValues[i]);
      strcat(response, temp);
      if (i < TOTAL_ANALOG_INPUTS - 1) {
        strcat(response, ",");
      }
    }

    SendResponse(response);
  }
	else if (strncmp(cmd, CMD_GET_ALL_DIGITAL, strlen(CMD_GET_ALL_DIGITAL)) == 0) {
    // Prepare response with all digital values
    char response[TX_BUFFER_SIZE] = "DVALUES:";
    char temp[4];

    for (int i = 0; i < TOTAL_DIGITAL_INPUTS; i++) {
      sprintf(temp, "%d", digitalValues[i]);
      strcat(response, temp);
      if (i < TOTAL_DIGITAL_INPUTS - 1) {
        strcat(response, ",");
      }
    }

    SendResponse(response);
  }
	else if (strncmp(cmd, CMD_CONTINUOUS, strlen(CMD_CONTINUOUS)) == 0) {
    // Parse channel number
    char* channelStr = cmd + strlen(CMD_CONTINUOUS);

    // Skip whitespace
    while (*channelStr == ' ') channelStr++;

    // Check if it's a valid channel number
    if (*channelStr == 'A' || *channelStr == 'a') {
      channelStr++;  // Skip 'A'
      int channel = atoi(channelStr);

      if (channel >= 1 && channel <= TOTAL_ANALOG_INPUTS) {
        continuousMode = 1;
        continuousChannel = channel - 1;  // Convert to 0-based index
        lastContinuousTime = HAL_GetTick();

        // Send immediate response
        PrepareContinuousResponse();
      } else {
        SendResponse("ERROR: Invalid channel");
      }
			 } else if (strncmp(channelStr, "STOP", 4) == 0) {
      continuousMode = 0;
      SendResponse("CONTINUOUS STOPPED");
    } else {
      SendResponse("ERROR: Invalid command format");
    }
  }else if (strncmp(cmd, CMD_RUN, strlen(CMD_RUN)) == 0) {
    // Parse RUN command parameters
    char* paramStr = cmd + strlen(CMD_RUN);

    // Skip whitespace
    while (*paramStr == ' ') paramStr++;

    if (strncmp(paramStr, "START", 5) == 0) {
      runMode = 1;
      lastRunTime = HAL_GetTick();
      errorDetected = 0;
      SendResponse("RUN MODE STARTED");
    }
    else if (strncmp(paramStr, "STOP", 4) == 0) {
      runMode = 0;
      SendResponse("RUN MODE STOPPED");
    }
		else if (strncmp(paramStr, "STATUS", 6) == 0) {
      char response[64];
      if (errorDetected) {
        sprintf(response, "ERROR DETECTED: Channel A%d = %d", errorChannel + 1, errorValue);
      } else {
        sprintf(response, "NO ERRORS DETECTED");
      }
      SendResponse(response);
    }
    else {
      SendResponse("ERROR: Invalid RUN command format. Use START, STOP, or STATUS");
    }

	}

  else {
    SendResponse("ERROR: Unknown command");
  }
}

/**
  * @brief  Send response via SPI
  * @param  response: Response string to send
  * @retval None
  */
void SendResponse(const char* response)
{
    // Prevent race condition if SPI busy
    while (!spiTransferComplete);

    spiTransferComplete = 0;

    // Clear buffer
    memset(txBuffer, 0, TX_BUFFER_SIZE);

    // Copy response safely
    strncpy((char*)txBuffer, response, TX_BUFFER_SIZE - 1);

    // Reset index
    spiTxIndex = 0;

    // Load first byte
    txData = txBuffer[spiTxIndex++];

    // Start SPI interrupt transmission (1 byte)
    HAL_SPI_TransmitReceive_IT(&hspi3, &txData, &rxData, 1);
}

/**
  * @brief  Handle continuous mode operation
  * @param  None
  * @retval None
  */

void HandleContinuousMode(void) {
  if (HAL_GetTick() - lastContinuousTime >= CONTINUOUS_INTERVAL_MS) {
    PrepareContinuousResponse();
    lastContinuousTime = HAL_GetTick();
  }
}

/**
  * @brief  Prepare and send continuous mode response
  * @param  None
  * @retval None
  */
void PrepareContinuousResponse(void) {
  char response[32];
  sprintf(response, "A%d:%d", continuousChannel + 1, analogValues[continuousChannel]);
  SendResponse(response);
}

void HAL_SPI_RxCpltCallback(SPI_HandleTypeDef *hspi)
{
    if (hspi->Instance == SPI1)
    {
        rxBuffer[spiRxIndex++] = rxData;

        HAL_SPI_Receive_IT(&hspi3, &rxData, 1);
    }
}

void HAL_SPI_TxCpltCallback(SPI_HandleTypeDef *hspi)
{
    if (hspi->Instance == SPI1)
    {
        if (spiTxIndex < sizeof(txBuffer))
        {
            txData = txBuffer[spiTxIndex++];
            HAL_SPI_Transmit_IT(&hspi3, &txData, 1);
        }
        else
        {
            spiTxIndex = 0;   // reset
        }
    }
}

/**
  * @brief  Handle RUN mode operation
  * @param  None
  * @retval None
  */
void HandleRunMode(void) {
  if (HAL_GetTick() - lastRunTime >= RUN_INTERVAL_MS) {
    // Fast read of analog inputs
    ReadAllAnalogInputs();

    // Check for errors
    CheckAnalogErrors();

    lastRunTime = HAL_GetTick();
  }
}

/**
  * @brief  Check analog inputs for values outside the 20%-80% range
  * @param  None
  * @retval None
  */
void CheckAnalogErrors(void) {
  for (int i = 0; i < TOTAL_ANALOG_INPUTS; i++) {
    if (analogValues[i] < ADC_THRESHOLD_LOW || analogValues[i] > ADC_THRESHOLD_HIGH) {
      // Error detected
      if (!errorDetected || errorChannel != i || errorValue != analogValues[i]) {
        errorDetected = 1;
        errorChannel = i;
        errorValue = analogValues[i];

        // Send error via UART
        SendErrorViaUART(i, analogValues[i]);

        // Send error via SPI
        SendErrorViaSPI(i, analogValues[i]);
      }
      return;  // Only report one error at a time
    }
  }

  // No errors detected
  if (errorDetected) {
    errorDetected = 0;
    SendResponse("ALL VALUES WITHIN RANGE");
  }
}

/**
  * @brief  Send error message via UART
  * @param  channel: Channel number where error was detected
  * @param  value: The value that caused the error
  * @retval None
  */
void SendErrorViaUART(uint8_t channel, uint16_t value) {
  char errorMsg[128];
  sprintf(errorMsg, "ERROR: Channel A%d out of range! Value: %d (Range: %d-%d)\r\n",
          channel + 1, value, (int)ADC_THRESHOLD_LOW, (int)ADC_THRESHOLD_HIGH);

  // Transmit via UART
  HAL_UART_Transmit(&huart1, (uint8_t*)errorMsg, strlen(errorMsg), 100);
}

/**
  * @brief  Send error message via SPI
  * @param  channel: Channel number where error was detected
  * @param  value: The value that caused the error
  * @retval None
  */
void SendErrorViaSPI(uint8_t channel, uint16_t value) {
  char errorMsg[128];
  sprintf(errorMsg, "ERROR: Channel A%d out of range! Value: %d",
          channel + 1, value);

  // Send via SPI
  SendResponse(errorMsg);
}

void Debug_ADCs(void) {
    char debug[100];
    uint16_t value;

    // Test ADC1 Channel 1
    value = ReadADCChannel(&hadc1, ADC_CHANNEL_1);
    sprintf(debug, "ADC1 CH1: %d\r\n", value);
    HAL_UART_Transmit(&huart1, (uint8_t*)debug, strlen(debug), 100);

    // Test ADC2 Channel 1
    value = ReadADCChannel(&hadc2, ADC_CHANNEL_1);
    sprintf(debug, "ADC2 CH1: %d\r\n", value);
    HAL_UART_Transmit(&huart1, (uint8_t*)debug, strlen(debug), 100);

    // Test ADC3 Channel 1
    value = ReadADCChannel(&hadc3, ADC_CHANNEL_1);
    sprintf(debug, "ADC3 CH1: %d\r\n", value);
    HAL_UART_Transmit(&huart1, (uint8_t*)debug, strlen(debug), 100);

    // Test ADC4 Channel 3
    value = ReadADCChannel(&hadc4, ADC_CHANNEL_3);
    sprintf(debug, "ADC4 CH3: %d\r\n", value);
    HAL_UART_Transmit(&huart1, (uint8_t*)debug, strlen(debug), 100);
}

/* USER CODE END 4 */

void HAL_TIM_PeriodElapsedCallback(TIM_HandleTypeDef *htim)
{
  if (htim->Instance == TIM1)
  {
    HAL_IncTick();
  }
}

void Error_Handler(void)
{
  __disable_irq();
  while (1)
  {
  }
}
